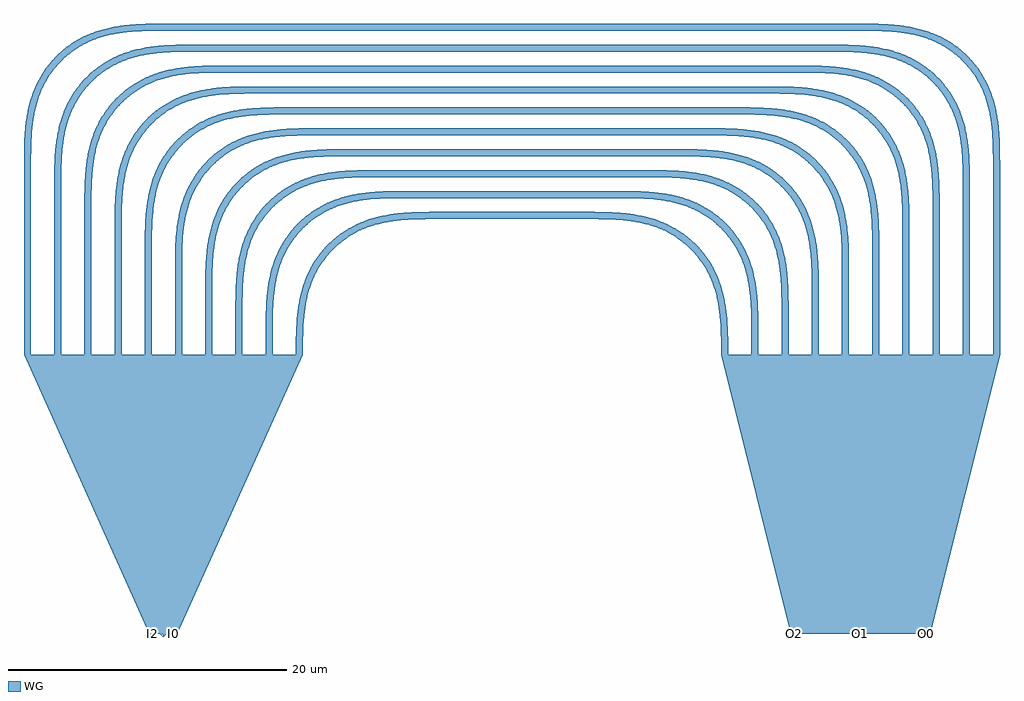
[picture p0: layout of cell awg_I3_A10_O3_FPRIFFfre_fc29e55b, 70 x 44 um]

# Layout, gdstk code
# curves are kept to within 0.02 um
from math import pi, radians
import gdstk
lib = gdstk.Library(unit=1e-6, precision=1e-09)
def R(c, l, rs):  # rectangles x0, y0, x1, y1
    for r in rs: c.add(gdstk.rectangle(r[:2], r[2:], *l))
def P(c, l, *ps):  # polygons
    for p in ps: c.add(gdstk.Polygon(p, *l))
WG = (200, 0)

free_propagation_region_ = lib.new_cell('free_propagation_region_c457e084')
P(free_propagation_region_, WG, [(20,-10),(0,-1),(0,1),(20,10)],
  [(0,-1),(-0.25,-0.75),(-0.062,-0.562),(-0.025,-0.562),(-0.215,-0.75),(-0.025,-0.75),(-0.025,-0.562),(-0.062,-0.562),(0,-0.5)],
  [(0,-0.25),(-0.25,0),(-0.062,0.188),(-0.025,0.188),(-0.215,0),(-0.025,0),(-0.025,0.188),(-0.062,0.188),(0,0.25)],
  [(0,0.5),(-0.25,0.75),(-0.062,0.938),(-0.025,0.938),(-0.215,0.75),(-0.025,0.75),(-0.025,0.938),(-0.062,0.938),(0,1)],
  [(20,-10),(20,-9.75),(20.025,-9.75),(20.025,-9.938),(20.215,-9.75),(20,-9.75),(20,-9.5),(20.25,-9.75)],
  [(20,-7.833),(20,-7.583),(20.025,-7.583),(20.025,-7.771),(20.215,-7.583),(20,-7.583),(20,-7.333),(20.25,-7.583)],
  [(20,-5.667),(20,-5.417),(20.025,-5.417),(20.025,-5.605),(20.215,-5.417),(20,-5.417),(20,-5.167),(20.25,-5.417)],
  [(20,-3.5),(20,-3.25),(20.025,-3.25),(20.025,-3.438),(20.215,-3.25),(20,-3.25),(20,-3),(20.25,-3.25)],
  [(20,-1.333),(20,-1.083),(20.025,-1.083),(20.025,-1.271),(20.215,-1.083),(20,-1.083),(20,-0.833),(20.25,-1.083)],
  [(20,0.833),(20,1.083),(20.025,1.083),(20.025,0.895),(20.215,1.083),(20,1.083),(20,1.333),(20.25,1.083)],
  [(20,3),(20,3.25),(20.025,3.25),(20.025,3.062),(20.215,3.25),(20,3.25),(20,3.5),(20.25,3.25)],
  [(20,5.167),(20,5.417),(20.025,5.417),(20.025,5.229),(20.215,5.417),(20,5.417),(20,5.667),(20.25,5.417)],
  [(20,7.333),(20,7.583),(20.025,7.583),(20.025,7.395),(20.215,7.583),(20,7.583),(20,7.833),(20.25,7.583)],
  [(20,9.5),(20,9.75),(20.025,9.75),(20.025,9.562),(20.215,9.75),(20,9.75),(20,10),(20.25,9.75)])
free_propagation_region_.add(gdstk.Label('W0', (0,-0.75), layer=200, texttype=0))
free_propagation_region_.add(gdstk.Label('W1', (0,0), layer=200, texttype=0))
free_propagation_region_.add(gdstk.Label('W2', (0,0.75), layer=200, texttype=0))
free_propagation_region_.add(gdstk.Label('E0', (20,-9.75), layer=200, texttype=0))
free_propagation_region_.add(gdstk.Label('E1', (20,-7.583), layer=200, texttype=0))
free_propagation_region_.add(gdstk.Label('E2', (20,-5.417), layer=200, texttype=0))
free_propagation_region_.add(gdstk.Label('E3', (20,-3.25), layer=200, texttype=0))
free_propagation_region_.add(gdstk.Label('E4', (20,-1.083), layer=200, texttype=0))
free_propagation_region_.add(gdstk.Label('E5', (20,1.083), layer=200, texttype=0))
free_propagation_region_.add(gdstk.Label('E6', (20,3.25), layer=200, texttype=0))
free_propagation_region_.add(gdstk.Label('E7', (20,5.417), layer=200, texttype=0))
free_propagation_region_.add(gdstk.Label('E8', (20,7.583), layer=200, texttype=0))
free_propagation_region_.add(gdstk.Label('E9', (20,9.75), layer=200, texttype=0))

c_free_propagation_region_ = lib.new_cell('free_propagation_region_b76b91f7')
P(c_free_propagation_region_, WG, [(20,-10),(0,-5),(0,5),(20,10)],
  [(0,-5),(-0.25,-4.75),(-0.062,-4.562),(-0.025,-4.562),(-0.215,-4.75),(-0.025,-4.75),(-0.025,-4.562),(-0.062,-4.562),(0,-4.5)],
  [(0,-0.25),(-0.25,0),(-0.062,0.188),(-0.025,0.188),(-0.215,0),(-0.025,0),(-0.025,0.188),(-0.062,0.188),(0,0.25)],
  [(0,4.5),(-0.25,4.75),(-0.062,4.938),(-0.025,4.938),(-0.215,4.75),(-0.025,4.75),(-0.025,4.938),(-0.062,4.938),(0,5)],
  [(20,-10),(20,-9.75),(20.025,-9.75),(20.025,-9.938),(20.215,-9.75),(20,-9.75),(20,-9.5),(20.25,-9.75)],
  [(20,-7.833),(20,-7.583),(20.025,-7.583),(20.025,-7.771),(20.215,-7.583),(20,-7.583),(20,-7.333),(20.25,-7.583)],
  [(20,-5.667),(20,-5.417),(20.025,-5.417),(20.025,-5.605),(20.215,-5.417),(20,-5.417),(20,-5.167),(20.25,-5.417)],
  [(20,-3.5),(20,-3.25),(20.025,-3.25),(20.025,-3.438),(20.215,-3.25),(20,-3.25),(20,-3),(20.25,-3.25)],
  [(20,-1.333),(20,-1.083),(20.025,-1.083),(20.025,-1.271),(20.215,-1.083),(20,-1.083),(20,-0.833),(20.25,-1.083)],
  [(20,0.833),(20,1.083),(20.025,1.083),(20.025,0.895),(20.215,1.083),(20,1.083),(20,1.333),(20.25,1.083)],
  [(20,3),(20,3.25),(20.025,3.25),(20.025,3.062),(20.215,3.25),(20,3.25),(20,3.5),(20.25,3.25)],
  [(20,5.167),(20,5.417),(20.025,5.417),(20.025,5.229),(20.215,5.417),(20,5.417),(20,5.667),(20.25,5.417)],
  [(20,7.333),(20,7.583),(20.025,7.583),(20.025,7.395),(20.215,7.583),(20,7.583),(20,7.833),(20.25,7.583)],
  [(20,9.5),(20,9.75),(20.025,9.75),(20.025,9.562),(20.215,9.75),(20,9.75),(20,10),(20.25,9.75)])
c_free_propagation_region_.add(gdstk.Label('W0', (0,-4.75), layer=200, texttype=0))
c_free_propagation_region_.add(gdstk.Label('W1', (0,0), layer=200, texttype=0))
c_free_propagation_region_.add(gdstk.Label('W2', (0,4.75), layer=200, texttype=0))
c_free_propagation_region_.add(gdstk.Label('E0', (20,-9.75), layer=200, texttype=0))
c_free_propagation_region_.add(gdstk.Label('E1', (20,-7.583), layer=200, texttype=0))
c_free_propagation_region_.add(gdstk.Label('E2', (20,-5.417), layer=200, texttype=0))
c_free_propagation_region_.add(gdstk.Label('E3', (20,-3.25), layer=200, texttype=0))
c_free_propagation_region_.add(gdstk.Label('E4', (20,-1.083), layer=200, texttype=0))
c_free_propagation_region_.add(gdstk.Label('E5', (20,1.083), layer=200, texttype=0))
c_free_propagation_region_.add(gdstk.Label('E6', (20,3.25), layer=200, texttype=0))
c_free_propagation_region_.add(gdstk.Label('E7', (20,5.417), layer=200, texttype=0))
c_free_propagation_region_.add(gdstk.Label('E8', (20,7.583), layer=200, texttype=0))
c_free_propagation_region_.add(gdstk.Label('E9', (20,9.75), layer=200, texttype=0))

bend_euler_r10_a90_p0p5_ = lib.new_cell('bend_euler_R10_A90_P0p5_f9fcb00b')
P(bend_euler_r10_a90_p0p5_, WG, [(0,-0.25),(0,0.25),(1.655,0.269),(2.881,0.353),(3.952,0.52),(4.99,0.806),(5.731,1.113),(6.431,1.505),(7.079,1.976),(7.575,2.425),(8.024,2.921),(8.495,3.569),(8.887,4.269),(9.194,5.01),(9.48,6.048),(9.647,7.119),(9.731,8.345),(9.75,10),(10.25,10),(10.235,8.468),(10.158,7.205),(10.023,6.224),(9.797,5.254),(9.457,4.312),(9.066,3.545),(8.5,2.715),(7.928,2.072),(7.285,1.5),(6.455,0.934),(5.688,0.543),(4.746,0.203),(3.776,-0.023),(2.795,-0.158),(1.532,-0.235)])

straight_l13p5_n2_csstri = lib.new_cell('straight_L13p5_N2_CSstrip')
R(straight_l13p5_n2_csstri, WG, [(0,-0.25,13.5,0.25)])

straight_l49p5_n2_csstri = lib.new_cell('straight_L49p5_N2_CSstrip')
R(straight_l49p5_n2_csstri, WG, [(0,-0.25,49.5,0.25)])

straight_l12_n2_csstrip = lib.new_cell('straight_L12_N2_CSstrip')
R(straight_l12_n2_csstrip, WG, [(0,-0.25,12,0.25)])

straight_l45p1660000000_ = lib.new_cell('straight_L45p1660000000_4d1de147')
R(straight_l45p1660000000_, WG, [(0,-0.25,45.166,0.25)])

straight_l10p5_n2_csstri = lib.new_cell('straight_L10p5_N2_CSstrip')
R(straight_l10p5_n2_csstri, WG, [(0,-0.25,10.5,0.25)])

straight_l40p834_n2_csst = lib.new_cell('straight_L40p834_N2_CSstrip')
R(straight_l40p834_n2_csst, WG, [(0,-0.25,40.834,0.25)])

straight_l9_n2_csstrip = lib.new_cell('straight_L9_N2_CSstrip')
R(straight_l9_n2_csstrip, WG, [(0,-0.25,9,0.25)])

straight_l36p5_n2_csstri = lib.new_cell('straight_L36p5_N2_CSstrip')
R(straight_l36p5_n2_csstri, WG, [(0,-0.25,36.5,0.25)])

straight_l7p5_n2_csstrip = lib.new_cell('straight_L7p5_N2_CSstrip')
R(straight_l7p5_n2_csstrip, WG, [(0,-0.25,7.5,0.25)])

straight_l32p1660000000_ = lib.new_cell('straight_L32p1660000000_643231bb')
R(straight_l32p1660000000_, WG, [(0,-0.25,32.166,0.25)])

straight_l6_n2_csstrip = lib.new_cell('straight_L6_N2_CSstrip')
R(straight_l6_n2_csstrip, WG, [(0,-0.25,6,0.25)])

straight_l27p834_n2_csst = lib.new_cell('straight_L27p834_N2_CSstrip')
R(straight_l27p834_n2_csst, WG, [(0,-0.25,27.834,0.25)])

straight_l4p5_n2_csstrip = lib.new_cell('straight_L4p5_N2_CSstrip')
R(straight_l4p5_n2_csstrip, WG, [(0,-0.25,4.5,0.25)])

straight_l23p5_n2_csstri = lib.new_cell('straight_L23p5_N2_CSstrip')
R(straight_l23p5_n2_csstri, WG, [(0,-0.25,23.5,0.25)])

straight_l3_n2_csstrip = lib.new_cell('straight_L3_N2_CSstrip')
R(straight_l3_n2_csstrip, WG, [(0,-0.25,3,0.25)])

straight_l19p166_n2_csst = lib.new_cell('straight_L19p166_N2_CSstrip')
R(straight_l19p166_n2_csst, WG, [(0,-0.25,19.166,0.25)])

straight_l1p5_n2_csstrip = lib.new_cell('straight_L1p5_N2_CSstrip')
R(straight_l1p5_n2_csstrip, WG, [(0,-0.25,1.5,0.25)])

straight_l14p834_n2_csst = lib.new_cell('straight_L14p834_N2_CSstrip')
R(straight_l14p834_n2_csst, WG, [(0,-0.25,14.834,0.25)])

awg_i3_a10_o3_fprifffre_ = lib.new_cell('awg_I3_A10_O3_FPRIFFfre_fc29e55b')
P(awg_i3_a10_o3_fprifffre_, WG, [(0.75,-0.25),(0.525,-0.025),(0.562,-0.025),(0.75,-0.215),(0.75,-0.025),(0.525,-0.025),(0.5,0),(1,0)],
  [(0,-0.25),(-0.225,-0.025),(-0.188,-0.025),(0,-0.215),(0,-0.025),(-0.225,-0.025),(-0.25,0),(0.25,0)],
  [(-0.75,-0.25),(-0.975,-0.025),(-0.938,-0.025),(-0.75,-0.215),(-0.75,-0.025),(-0.975,-0.025),(-1,0),(-0.5,0)],
  [(54.75,-0.25),(54.525,-0.025),(54.562,-0.025),(54.75,-0.215),(54.75,-0.025),(54.525,-0.025),(54.5,0),(55,0)],
  [(50,-0.25),(49.775,-0.025),(49.812,-0.025),(50,-0.215),(50,-0.025),(49.775,-0.025),(49.75,0),(50.25,0)],
  [(45.25,-0.25),(45.025,-0.025),(45.062,-0.025),(45.25,-0.215),(45.25,-0.025),(45.025,-0.025),(45,0),(45.5,0)])
awg_i3_a10_o3_fprifffre_.add(gdstk.Reference(free_propagation_region_, (0,0), rotation=pi/2))
awg_i3_a10_o3_fprifffre_.add(gdstk.Reference(c_free_propagation_region_, (50,0), rotation=pi/2))
awg_i3_a10_o3_fprifffre_.add(gdstk.Reference(bend_euler_r10_a90_p0p5_, (49.75,43.5), x_reflection=True))
awg_i3_a10_o3_fprifffre_.add(gdstk.Reference(straight_l13p5_n2_csstri, (59.75,33.5), rotation=3*pi/2))
awg_i3_a10_o3_fprifffre_.add(gdstk.Reference(bend_euler_r10_a90_p0p5_, (-9.75,33.5), rotation=pi/2, x_reflection=True))
awg_i3_a10_o3_fprifffre_.add(gdstk.Reference(straight_l49p5_n2_csstri, (0.25,43.5)))
awg_i3_a10_o3_fprifffre_.add(gdstk.Reference(straight_l13p5_n2_csstri, (-9.75,33.5), rotation=3*pi/2))
awg_i3_a10_o3_fprifffre_.add(gdstk.Reference(bend_euler_r10_a90_p0p5_, (47.583,42), x_reflection=True))
awg_i3_a10_o3_fprifffre_.add(gdstk.Reference(straight_l12_n2_csstrip, (57.583,32), rotation=3*pi/2))
awg_i3_a10_o3_fprifffre_.add(gdstk.Reference(bend_euler_r10_a90_p0p5_, (-7.583,32), rotation=pi/2, x_reflection=True))
awg_i3_a10_o3_fprifffre_.add(gdstk.Reference(straight_l45p1660000000_, (2.417,42)))
awg_i3_a10_o3_fprifffre_.add(gdstk.Reference(straight_l12_n2_csstrip, (-7.583,32), rotation=3*pi/2))
awg_i3_a10_o3_fprifffre_.add(gdstk.Reference(bend_euler_r10_a90_p0p5_, (45.417,40.5), x_reflection=True))
awg_i3_a10_o3_fprifffre_.add(gdstk.Reference(straight_l10p5_n2_csstri, (55.417,30.5), rotation=3*pi/2))
awg_i3_a10_o3_fprifffre_.add(gdstk.Reference(bend_euler_r10_a90_p0p5_, (-5.417,30.5), rotation=pi/2, x_reflection=True))
awg_i3_a10_o3_fprifffre_.add(gdstk.Reference(straight_l40p834_n2_csst, (4.583,40.5)))
awg_i3_a10_o3_fprifffre_.add(gdstk.Reference(straight_l10p5_n2_csstri, (-5.417,30.5), rotation=3*pi/2))
awg_i3_a10_o3_fprifffre_.add(gdstk.Reference(bend_euler_r10_a90_p0p5_, (43.25,39), x_reflection=True))
awg_i3_a10_o3_fprifffre_.add(gdstk.Reference(straight_l9_n2_csstrip, (53.25,29), rotation=3*pi/2))
awg_i3_a10_o3_fprifffre_.add(gdstk.Reference(bend_euler_r10_a90_p0p5_, (-3.25,29), rotation=pi/2, x_reflection=True))
awg_i3_a10_o3_fprifffre_.add(gdstk.Reference(straight_l36p5_n2_csstri, (6.75,39)))
awg_i3_a10_o3_fprifffre_.add(gdstk.Reference(straight_l9_n2_csstrip, (-3.25,29), rotation=3*pi/2))
awg_i3_a10_o3_fprifffre_.add(gdstk.Reference(bend_euler_r10_a90_p0p5_, (41.083,37.5), x_reflection=True))
awg_i3_a10_o3_fprifffre_.add(gdstk.Reference(straight_l7p5_n2_csstrip, (51.083,27.5), rotation=3*pi/2))
awg_i3_a10_o3_fprifffre_.add(gdstk.Reference(bend_euler_r10_a90_p0p5_, (-1.083,27.5), rotation=pi/2, x_reflection=True))
awg_i3_a10_o3_fprifffre_.add(gdstk.Reference(straight_l32p1660000000_, (8.917,37.5)))
awg_i3_a10_o3_fprifffre_.add(gdstk.Reference(straight_l7p5_n2_csstrip, (-1.083,27.5), rotation=3*pi/2))
awg_i3_a10_o3_fprifffre_.add(gdstk.Reference(bend_euler_r10_a90_p0p5_, (38.917,36), x_reflection=True))
awg_i3_a10_o3_fprifffre_.add(gdstk.Reference(straight_l6_n2_csstrip, (48.917,26), rotation=3*pi/2))
awg_i3_a10_o3_fprifffre_.add(gdstk.Reference(bend_euler_r10_a90_p0p5_, (1.083,26), rotation=pi/2, x_reflection=True))
awg_i3_a10_o3_fprifffre_.add(gdstk.Reference(straight_l27p834_n2_csst, (11.083,36)))
awg_i3_a10_o3_fprifffre_.add(gdstk.Reference(straight_l6_n2_csstrip, (1.083,26), rotation=3*pi/2))
awg_i3_a10_o3_fprifffre_.add(gdstk.Reference(bend_euler_r10_a90_p0p5_, (36.75,34.5), x_reflection=True))
awg_i3_a10_o3_fprifffre_.add(gdstk.Reference(straight_l4p5_n2_csstrip, (46.75,24.5), rotation=3*pi/2))
awg_i3_a10_o3_fprifffre_.add(gdstk.Reference(bend_euler_r10_a90_p0p5_, (3.25,24.5), rotation=pi/2, x_reflection=True))
awg_i3_a10_o3_fprifffre_.add(gdstk.Reference(straight_l23p5_n2_csstri, (13.25,34.5)))
awg_i3_a10_o3_fprifffre_.add(gdstk.Reference(straight_l4p5_n2_csstrip, (3.25,24.5), rotation=3*pi/2))
awg_i3_a10_o3_fprifffre_.add(gdstk.Reference(bend_euler_r10_a90_p0p5_, (34.583,33), x_reflection=True))
awg_i3_a10_o3_fprifffre_.add(gdstk.Reference(straight_l3_n2_csstrip, (44.583,23), rotation=3*pi/2))
awg_i3_a10_o3_fprifffre_.add(gdstk.Reference(bend_euler_r10_a90_p0p5_, (5.417,23), rotation=pi/2, x_reflection=True))
awg_i3_a10_o3_fprifffre_.add(gdstk.Reference(straight_l19p166_n2_csst, (15.417,33)))
awg_i3_a10_o3_fprifffre_.add(gdstk.Reference(straight_l3_n2_csstrip, (5.417,23), rotation=3*pi/2))
awg_i3_a10_o3_fprifffre_.add(gdstk.Reference(bend_euler_r10_a90_p0p5_, (32.417,31.5), x_reflection=True))
awg_i3_a10_o3_fprifffre_.add(gdstk.Reference(straight_l1p5_n2_csstrip, (42.417,21.5), rotation=3*pi/2))
awg_i3_a10_o3_fprifffre_.add(gdstk.Reference(bend_euler_r10_a90_p0p5_, (7.583,21.5), rotation=pi/2, x_reflection=True))
awg_i3_a10_o3_fprifffre_.add(gdstk.Reference(straight_l14p834_n2_csst, (17.583,31.5)))
awg_i3_a10_o3_fprifffre_.add(gdstk.Reference(straight_l1p5_n2_csstrip, (7.583,21.5), rotation=3*pi/2))
awg_i3_a10_o3_fprifffre_.add(gdstk.Reference(bend_euler_r10_a90_p0p5_, (30.25,30), x_reflection=True))
awg_i3_a10_o3_fprifffre_.add(gdstk.Reference(bend_euler_r10_a90_p0p5_, (9.75,20), rotation=pi/2, x_reflection=True))
awg_i3_a10_o3_fprifffre_.add(gdstk.Reference(straight_l10p5_n2_csstri, (19.75,30)))
awg_i3_a10_o3_fprifffre_.add(gdstk.Label('I0', (0.75,0), layer=200, texttype=0))
awg_i3_a10_o3_fprifffre_.add(gdstk.Label('I1', (0,0), layer=200, texttype=0))
awg_i3_a10_o3_fprifffre_.add(gdstk.Label('I2', (-0.75,0), layer=200, texttype=0))
awg_i3_a10_o3_fprifffre_.add(gdstk.Label('O0', (54.75,0), layer=200, texttype=0))
awg_i3_a10_o3_fprifffre_.add(gdstk.Label('O1', (50,0), layer=200, texttype=0))
awg_i3_a10_o3_fprifffre_.add(gdstk.Label('O2', (45.25,0), layer=200, texttype=0))

lib.write_gds('awg_I3_A10_O3_FPRIFFfre_fc29e55b.gds')
